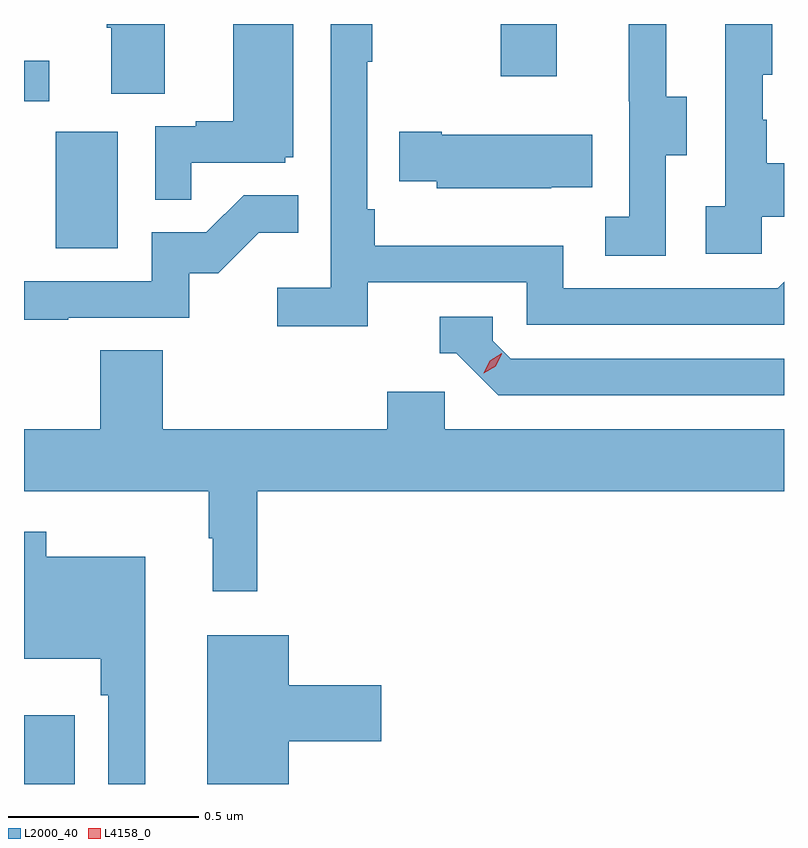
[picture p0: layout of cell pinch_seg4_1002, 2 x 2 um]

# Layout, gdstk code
import gdstk
lib = gdstk.Library(unit=1e-6, precision=1e-09)
def R(c, l, rs):  # rectangles x0, y0, x1, y1
    for r in rs: c.add(gdstk.rectangle(r[:2], r[2:], *l))
def P(c, l, *ps):  # polygons
    for p in ps: c.add(gdstk.Polygon(p, *l))
L2000_40 = (2000, 40)
L4158_0 = (4158, 0)

pinch_seg4_1002 = lib.new_cell('pinch_seg4_1002')
R(pinch_seg4_1002, L2000_40, [(866.979,785.394,867.112,785.575), (867.062,786.804,867.226,787.111), (866.979,787.191,867.046,787.297), (868.234,787.257,868.381,787.394)])
P(pinch_seg4_1002, L2000_40, [(868.92,786.887),(868.979,786.887),(868.979,787.027),(868.933,787.027),(868.933,787.142),(868.923,787.142),(868.923,787.26),(868.948,787.26),(868.948,787.394),(868.824,787.394),(868.824,786.914),(868.773,786.914),(868.773,786.789),(868.92,786.789)],
  [(867.884,786.714),(868.302,786.714),(868.302,786.603),(868.979,786.603),(868.979,786.716),(868.962,786.699),(868.398,786.699),(868.398,786.811),(867.902,786.811),(867.902,786.907),(867.882,786.907),(867.882,787.295),(867.895,787.295),(867.895,787.394),(867.786,787.394),(867.786,786.7),(867.645,786.7),(867.645,786.598),(867.884,786.598)],
  [(868.668,787.048),(868.723,787.048),(868.723,787.203),(868.669,787.203),(868.669,787.394),(868.571,787.394),(868.571,787.191),(868.572,787.191),(868.572,786.887),(868.509,786.887),(868.509,786.784),(868.668,786.784)],
  [(867.349,787.394),(867.197,787.394),(867.197,787.384),(867.209,787.384),(867.209,787.21),(867.349,787.21)],
  [(867.419,787.029),(867.666,787.029),(867.666,787.044),(867.688,787.044),(867.688,787.393),(867.53,787.393),(867.53,787.138),(867.431,787.138),(867.431,787.125),(867.324,787.125),(867.324,786.931),(867.419,786.931)],
  [(868.367,786.965),(868.475,786.965),(868.475,787.102),(868.078,787.102),(868.078,787.11),(867.967,787.11),(867.967,786.98),(868.065,786.98),(868.065,786.962),(868.367,786.962)],
  [(867.095,786.621),(867.414,786.621),(867.414,786.738),(867.49,786.738),(867.597,786.845),(867.701,786.845),(867.701,786.944),(867.557,786.944),(867.459,786.846),(867.315,786.846),(867.315,786.717),(866.979,786.717),(866.979,786.616),(867.095,786.616)],
  [(868.979,786.513),(868.26,786.513),(868.212,786.561),(868.212,786.624),(868.073,786.624),(868.073,786.528),(868.116,786.528),(868.227,786.417),(868.979,786.417)],
  [(867.593,786.164),(868.979,786.164),(868.979,786.328),(868.086,786.328),(868.086,786.426),(867.935,786.426),(867.935,786.328),(867.344,786.328),(867.344,786.536),(867.179,786.536),(867.179,786.328),(866.979,786.328),(866.979,786.164),(867.465,786.164),(867.465,786.041),(867.476,786.041),(867.476,785.901),(867.593,785.901)],
  [(867.298,785.992),(867.037,785.992),(867.037,786.058),(866.979,786.058),(866.979,785.723),(867.181,785.723),(867.181,785.627),(867.201,785.627),(867.201,785.394),(867.298,785.394)],
  [(867.676,785.507),(867.919,785.507),(867.919,785.654),(867.676,785.654),(867.676,785.785),(867.461,785.785),(867.461,785.394),(867.676,785.394)])
P(pinch_seg4_1002, L4158_0, [(868.189,786.475),(868.189,786.475),(868.205,786.508),(868.236,786.527),(868.236,786.527),(868.236,786.526),(868.22,786.494),(868.189,786.475)])

lib.write_gds('pinch_seg4_1002.gds')
